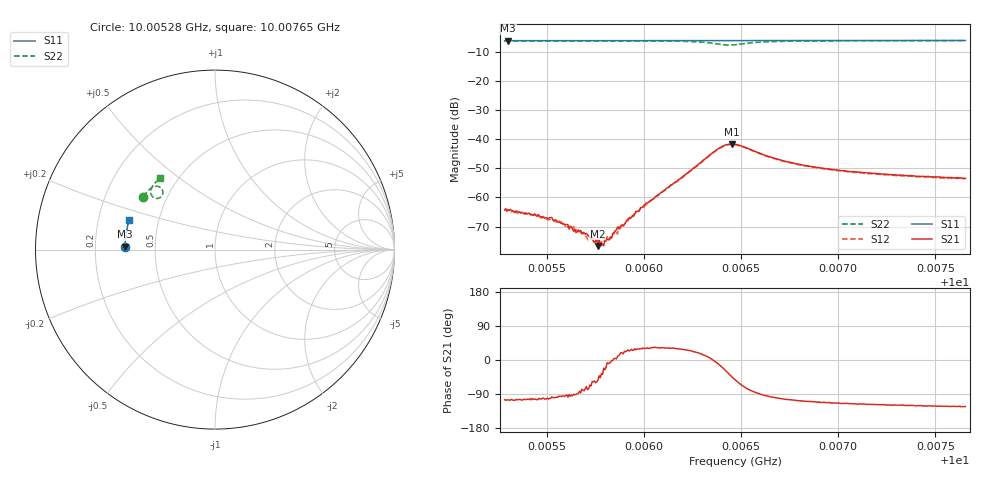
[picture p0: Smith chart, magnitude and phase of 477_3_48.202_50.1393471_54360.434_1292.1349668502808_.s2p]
#  HZ  S  RI  R  50.00
! Rohde & Schwarz Vector Network Analyzer
! Rohde-Schwarz,ZNB20-2Port,1311601062101988,3.16
! Created: UTC 3/20/2024, 11:57:30 AM
! freq[Hz]  re:S11  im:S11  re:S21  im:S21  re:S12  im:S12  re:S22  im:S22
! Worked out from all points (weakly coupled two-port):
!   401 points, 10.00528 GHz to 10.00765 GHz, reference 50 ohm
!   highest |S21| = -41.58 dB at 10.00645 GHz (marker M1); lowest = -76.7 dB at 10.00576 GHz (marker M2)
!   lowest |S11| = -6.0 dB at 10.0053 GHz (marker M3), VSWR 3.00, Z = 16.6 + j0.727 ohm
!   |S11| at or under -10 dB: nowhere
!   |S22| runs from -7.5 to -6.0 dB; largest |S21 - S12| = 0.00053
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1.0005282e10  -0.5005 0.0152  -0.000155 -0.000591  -0.000123 -0.000612  -0.3992 0.2938
1.0005299e10  -0.5003 0.0164  -0.000159 -0.000588  -0.000139 -0.000582  -0.3985 0.2948
1.0005513e10  -0.5003 0.0304  -8.92e-05 -0.000437  -3.7e-05 -0.000419  -0.3896 0.3074
1.0005561e10  -0.5001 0.0335  -3.74e-05 -0.000373  -5.07e-05 -0.000406  -0.3875 0.3103
1.0005596e10  -0.4999 0.0358  -2.62e-05 -0.000342  -5.8e-06 -0.000316  -0.3859 0.3125
1.0005644e10  -0.5 0.0387  -8.01e-06 -0.000285  2.03e-06 -0.000288  -0.3835 0.3154
1.0005679e10  -0.4997 0.0411  5.32e-05 -0.000231  3e-05 -0.000246  -0.3819 0.3175
1.000575e10  -0.4996 0.0458  8.82e-05 -0.000151  0.000131 -0.000132  -0.3781 0.322
1.0005762e10  -0.4994 0.0466  8.69e-05 -0.000118  0.000113 -0.000123  -0.3776 0.3227
1.0005768e10  -0.4995 0.0471  0.000143 -0.000127  0.000117 -8.53e-05  -0.3772 0.3229
1.0005786e10  -0.4993 0.0481  0.000124 -9.81e-05  0.000152 -0.000124  -0.3763 0.3241
1.0005822e10  -0.499 0.0504  0.000194 -2.7e-05  0.000187 -7.5e-06  -0.3742 0.3265
1.0005851e10  -0.4991 0.0524  0.000265 1.98e-05  0.000269 3.13e-05  -0.3725 0.3283
1.0005946e10  -0.4986 0.0585  0.000428 0.000208  0.000441 0.000241  -0.3663 0.3346
1.0006077e10  -0.4978 0.067  0.000964 0.000602  0.00091 0.000654  -0.3552 0.3435
1.0006379e10  -0.4947 0.0865  0.00676 -0.00108  0.00662 -0.000743  -0.2919 0.3293
1.000645e10  -0.494 0.0905  0.00603 -0.00575  0.0062 -0.00529  -0.3056 0.29
1.0006468e10  -0.4938 0.0915  0.00506 -0.00649  0.00532 -0.00608  -0.3158 0.2858
1.0006682e10  -0.4923 0.1051  -0.000788 -0.00454  -0.000576 -0.0045  -0.3579 0.3274
1.0006866e10  -0.49 0.1169  -0.00116 -0.00318  -0.00098 -0.00318  -0.35 0.3495
1.0007263e10  -0.4844 0.142  -0.00119 -0.00219  -0.00106 -0.00217  -0.3293 0.3766
1.0007655e10  -0.4773 0.1661  -0.00116 -0.0018  -0.00108 -0.00182  -0.3091 0.3962
